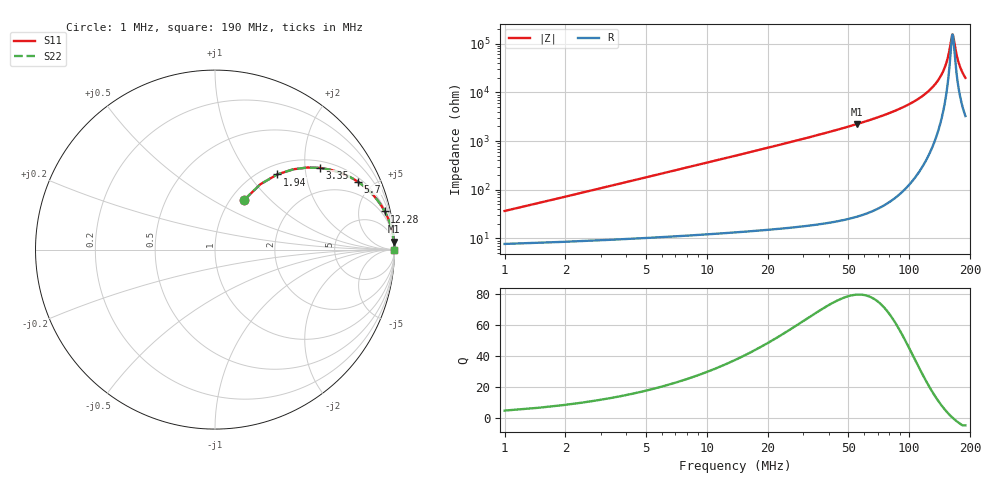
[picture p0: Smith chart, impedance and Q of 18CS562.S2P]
! Coilcraft 1812CS-562 Chip Inductor
! 31 July 2002
# MHZ S MA R 50
!Freq  MagS11  AngS11  MagS21  AngS21  MagS12  AngS12  MagS22  AngS22
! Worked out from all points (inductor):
!   404 points, 1 MHz to 190 MHz, reference 50 ohm
!   read as one part in series: L = 5.7 uH near 1.94 MHz
!   highest Q = 79.9 at 55.52 MHz (marker M1), where L = 6.44 uH
!   self-resonance near 164.1 MHz
!   S11 on the Smith chart (normalised r, x): 1 MHz: 1.15, +0.72; 1.94 MHz: 1.17, +1.39; 3.35 MHz: 1.19, +2.40; 5.7 MHz: 1.21, +4.09; 12.28 MHz: 1.26, +8.85; 190 MHz: open
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1  0.3228 59.5  0.881 -18.4  0.881 -18.4  0.3228 59.5
1.94  0.5433 50.4  0.7761 -32.6  0.7761 -32.6  0.5433 50.4
3.35  0.7414 37.9  0.6158 -47.7  0.6158 -47.7  0.7414 37.9
5.7  0.8808 25.5  0.4304 -61.6  0.4304 -61.6  0.8808 25.5
8.52  0.9401 17.9  0.3071 -70.0  0.3071 -70.0  0.9401 17.9
12.28  0.9694 12.7  0.2191 -75.7  0.2191 -75.7  0.9694 12.7
21.21  0.9892 7.4  0.128 -81.5  0.128 -81.5  0.9892 7.4
32.96  0.9955 4.6  0.08092 -84.5  0.08092 -84.5  0.9955 4.6
55.52  0.9985 2.5  0.04447 -86.7  0.04447 -86.7  0.9985 2.5
64.45  0.9989 2.1  0.0366 -87.2  0.0366 -87.2  0.9989 2.1
95.94  0.9994 1.1  0.01915 -87.8  0.01915 -87.8  0.9994 1.1
127.43  0.9995 0.5  0.008716 -86.5  0.008716 -86.5  0.9995 0.5
138.71  0.9995 0.3  0.005779 -84.6  0.005779 -84.6  0.9995 0.3
147.17  0.9994 0.2  0.003766 -81.4  0.003766 -81.4  0.9994 0.2
153.75  0.9994 0.1  0.00231 -75.2  0.00231 -75.2  0.9994 0.1
158.92  0.9994 0.1  0.001269 -61.0  0.001269 -61.0  0.9994 0.1
162.68  0.9994 0.0  0.0007119 -26.4  0.0007119 -26.4  0.9994 0.0
164.56  0.9994 -0.0  0.0006536 6.5  0.0006536 6.5  0.9994 -0.0
171.14  0.9993 -0.1  0.001566 63.7  0.001566 63.7  0.9993 -0.1
175.37  0.9993 -0.1  0.002348 72.0  0.002348 72.0  0.9993 -0.1
181.95  0.9992 -0.2  0.003572 77.4  0.003572 77.4  0.9992 -0.2
190  0.9992 -0.3  0.005036 80.3  0.005036 80.3  0.9992 -0.3
